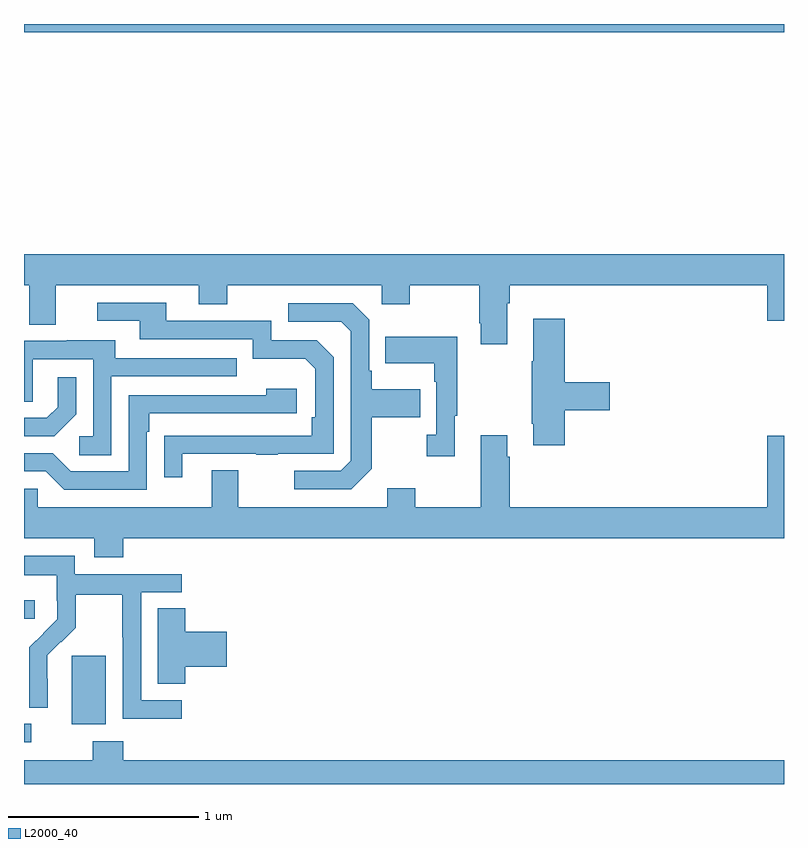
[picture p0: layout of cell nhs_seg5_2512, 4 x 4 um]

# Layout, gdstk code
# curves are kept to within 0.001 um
import gdstk
lib = gdstk.Library(unit=1e-6, precision=1e-09)
def R(c, l, rs):  # rectangles x0, y0, x1, y1
    for r in rs: c.add(gdstk.rectangle(r[:2], r[2:], *l))
def P(c, l, *ps):  # polygons
    for p in ps: c.add(gdstk.Polygon(p, *l))
L2000_40 = (2000, 40)

nhs_seg5_2512 = lib.new_cell('nhs_seg5_2512')
R(nhs_seg5_2512, L2000_40, [(257,857.019,257.038,857.115), (257.252,857.114,257.431,857.475), (257,857.67,257.056,857.767), (257,860.756,261,860.799)])
P(nhs_seg5_2512, L2000_40, [(259.543,859.328),(259.556,859.328),(259.556,859.424),(260.912,859.424),(260.912,859.236),(261,859.236),(261,859.588),(257,859.588),(257,859.424),(257.027,859.424),(257.027,859.216),(257.167,859.216),(257.167,859.424),(257.921,859.424),(257.921,859.325),(258.069,859.325),(258.069,859.424),(258.882,859.424),(258.882,859.325),(259.029,859.325),(259.029,859.424),(259.396,859.424),(259.396,859.225),(259.403,859.225),(259.403,859.113),(259.543,859.113)],
  [(257.833,858.537),(258.223,858.537),(258.223,858.532),(258.335,858.532),(258.335,858.537),(258.63,858.537),(258.63,859.044),(258.54,859.134),(258.3,859.134),(258.3,859.236),(257.749,859.236),(257.749,859.332),(257.385,859.332),(257.385,859.236),(257.609,859.236),(257.609,859.14),(258.204,859.14),(258.204,859.037),(258.481,859.037),(258.534,858.984),(258.534,858.73),(258.514,858.73),(258.514,858.633),(257.737,858.632),(257.737,858.414),(257.833,858.414)],
  [(258.829,858.457),(258.829,858.73),(259.085,858.73),(259.085,858.877),(258.829,858.877),(258.829,858.973),(258.816,858.973),(258.816,859.242),(258.729,859.329),(258.392,859.329),(258.392,859.233),(258.669,859.233),(258.72,859.182),(258.72,858.501),(258.666,858.447),(258.423,858.447),(258.423,858.351),(258.723,858.351)],
  [(259.847,858.767),(260.083,858.767),(260.083,858.914),(259.847,858.914),(259.847,859.249),(259.679,859.249),(259.679,859.025),(259.672,859.025),(259.672,858.694),(259.679,858.694),(259.679,858.582),(259.847,858.582)],
  [(259.267,858.737),(259.279,858.737),(259.279,859.153),(258.901,859.153),(258.901,859.013),(259.158,859.013),(259.158,858.917),(259.17,858.917),(259.17,858.638),(259.119,858.638),(259.119,858.525),(259.267,858.525)],
  [(257.46,858.945),(258.119,858.945),(258.119,859.041),(257.479,859.041),(257.479,859.135),(257.225,859.135),(257.225,859.131),(257,859.131),(257,858.811),(257.046,858.811),(257.046,859.035),(257.364,859.035),(257.364,858.63),(257.291,858.63),(257.291,858.529),(257.46,858.529)],
  [(257.274,858.746),(257.274,858.94),(257.177,858.94),(257.177,858.783),(257.12,858.726),(257,858.726),(257,858.63),(257.158,858.63)],
  [(257.646,858.653),(257.659,858.653),(257.659,858.75),(258.436,858.75),(258.436,858.88),(258.275,858.88),(258.275,858.846),(257.55,858.846),(257.55,858.444),(257.247,858.444),(257.151,858.54),(257,858.54),(257,858.444),(257.115,858.444),(257.211,858.348),(257.646,858.348)],
  [(257.522,858.092),(261,858.092),(261,858.631),(260.912,858.631),(260.912,858.256),(259.556,858.256),(259.556,858.521),(259.543,858.521),(259.543,858.634),(259.403,858.634),(259.403,858.256),(259.059,858.256),(259.059,858.355),(258.911,858.355),(258.911,858.256),(258.127,858.256),(258.127,858.451),(257.987,858.451),(257.987,858.256),(257.073,858.256),(257.073,858.354),(257,858.354),(257,858.092),(257.369,858.092),(257.369,857.993),(257.522,857.993)],
  [(257.83,857.241),(257.616,857.241),(257.616,857.808),(257.83,857.808),(257.83,857.904),(257.268,857.904),(257.268,858.001),(257,858.001),(257,857.897),(257.172,857.897),(257.172,857.763),(257.174,857.763),(257.174,857.666),(257.028,857.518),(257.028,857.2),(257.124,857.2),(257.123,857.477),(257.193,857.547),(257.196,857.544),(257.273,857.621),(257.273,857.796),(257.517,857.796),(257.517,857.572),(257.52,857.572),(257.52,857.143),(257.83,857.143)],
  [(257.849,857.417),(258.067,857.417),(258.067,857.6),(257.849,857.6),(257.849,857.723),(257.705,857.723),(257.705,857.326),(257.849,857.326)],
  [(261,856.924),(257.522,856.924),(257.522,857.023),(257.362,857.023),(257.362,856.924),(257,856.924),(257,856.799),(261,856.799)])

lib.write_gds('nhs_seg5_2512.gds')
